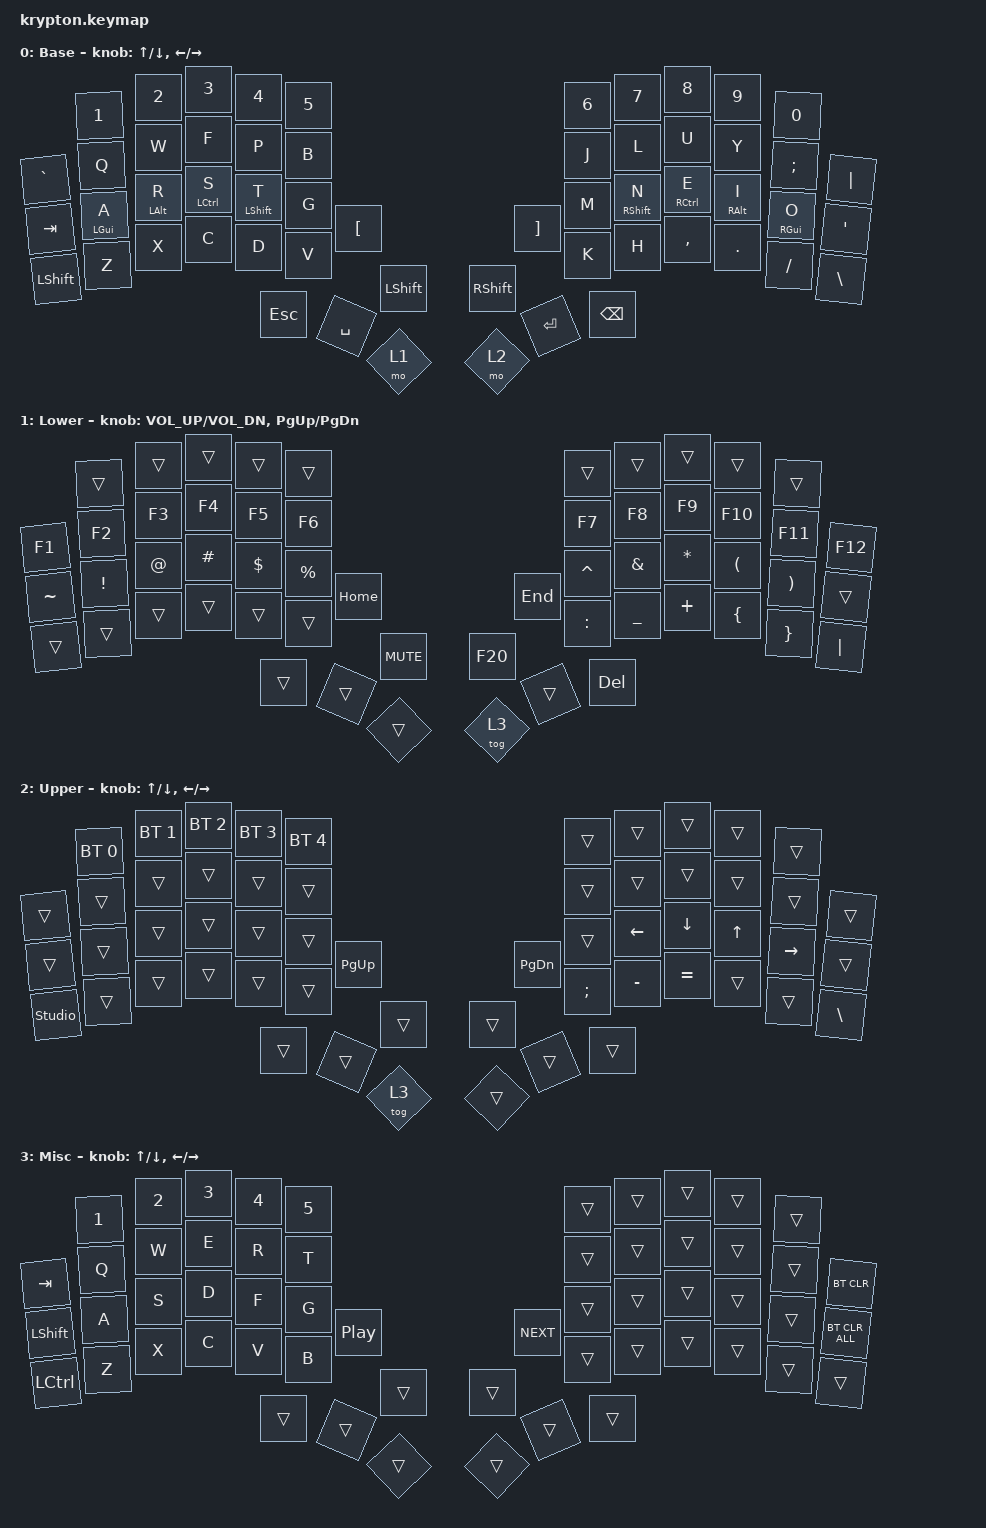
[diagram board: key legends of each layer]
#include <behaviors.dtsi>
#include <dt-bindings/zmk/bt.h>
#include <dt-bindings/zmk/keys.h>

/ {
    behaviors {
        bhm: balanced_homerow_mods {
            compatible = "zmk,behavior-hold-tap";
            #binding-cells = <2>;
            tapping-term-ms = <200>;
            quick-tap-ms = <0>;
            flavor = "balanced";
            bindings = <&kp>, <&kp>;
        };
    };

    combos {
        compatible = "zmk,combos";
        combo_esc {
            timeout-ms = <50>;
            key-positions = <26 31>;
            bindings = <&kp ESC>;
        };
        combo_caps_word {
            timeout-ms = <50>;
            key-positions = <25 32>;
            bindings = <&caps_word>;
        };
    };

    keymap {
        compatible = "zmk,keymap";

        Base {
            display-name = "Base";

            // ---------------------------------------------------------------------------------------------------
            // |       |  1  |  2  |  3  |  4  |  5  |                     |  6  |  7  |  8  |  9  |  0  |       |
            // |   `   |  Q  |  W  |  F  |  P  |  B  |                     |  J  |  L  |  U  |  Y  |  ;  |   |   |
            // |  TAB  |A/GUI|R/ALT|S/CTL|T/SFT|  G  |  [  |     |  ]  |   |  M  |N/SFT|E/CTL|I/ALT|O/GUI|   '   |
            // | SHIFT |  Z  |  X  |  C  |  D  |  V  |LSHFT|     |RSHFT|   |  K  |  H  |  ,  |  .  |  /  |   \   |
            //                             | ESC  | SPACE | LOWER | UPPER | ENTER | BSPC |

            bindings = <
           &kp N1        &kp N2       &kp N3        &kp N4         &kp N5                           &kp N6   &kp N7         &kp N8        &kp N9       &kp N0
&kp GRAVE  &kp Q         &kp W        &kp F         &kp P          &kp B                            &kp J    &kp L          &kp U         &kp Y        &kp SEMI      &kp PIPE
&kp TAB    &bhm LGUI A   &bhm LALT R  &bhm LCTRL S  &bhm LSHIFT T  &kp G      &kp LBKT   &kp RBKT   &kp M    &bhm RSHIFT N  &bhm RCTRL E  &bhm RALT I  &bhm RGUI O   &kp SQT
&kp LSHFT  &kp Z         &kp X        &kp C         &kp D          &kp V      &kp LSHFT  &kp RSHFT  &kp K    &kp H          &kp COMMA     &kp DOT      &kp FSLH      &kp BSLH
                                                    &kp ESC        &kp SPACE  &mo 1      &mo 2      &kp RET  &kp BSPC
            >;

            sensor-bindings = <&inc_dec_kp UP DOWN &inc_dec_kp LEFT RIGHT>;
        };

        Lower {
            display-name = "Lower";

            // -----------------------------------------------------------------------------------------------------------------------
            // |       |  ↓   |  ↓   |  ↓   |  ↓   |  ↓   |                     |  ↓   |  ↓   |  ↓   |  ↓   |  ↓   |       |
            // |  F1   |  F2  |  F3  |  F4  |  F5  |  F6  |                     |  F7  |  F8  |  F9  |  F10 |  F11 |  F12  |
            // |   ~   |  !   |  @   |  #   |  $   |  %   | HOME |     | END |  |  ^   |  &   |  *   |  (   |  )   |   ↓   |
            // |   ↓   |  ↓   |  ↓   |  ↓   |  ↓   |  ↓   | MUTE |     | F20 |  |  :   |  _   |  +   |  {   |  }   |   |   |
            //                                | ↓  |  ↓  |  ↓  | MISC |  ↓  | DEL |

            bindings = <
           &trans      &trans      &trans      &trans      &trans                           &trans        &trans         &trans         &trans        &trans
&kp F1     &kp F2      &kp F3      &kp F4      &kp F5      &kp F6                           &kp F7        &kp F8         &kp F9         &kp F10       &kp F11       &kp F12
&kp TILDE  &kp EXCL    &kp AT      &kp HASH    &kp DOLLAR  &kp PERCENT &kp HOME    &kp END  &kp CARET     &kp AMPS       &kp ASTERISK   &kp LPAR      &kp RPAR      &trans
&trans     &trans      &trans      &trans      &trans      &trans      &kp C_MUTE  &kp F20  &kp COLON     &kp UNDER      &kp PLUS       &kp LBRC      &kp RBRC      &kp PIPE
                                               &trans      &trans      &trans      &tog 3   &trans        &kp DEL
            >;

            sensor-bindings = <&inc_dec_kp C_VOL_UP C_VOL_DN &inc_dec_kp PG_UP PG_DN>;
        };

        Upper {
            display-name = "Upper";

            // -----------------------------------------------------------------------------------------------------------------------------
            // |       | BT 0 | BT 1 | BT 2 | BT 3 | BT 4 |                     |  ↓   |  ↓   |  ↓   |  ↓   |  ↓   |       |
            // |   ↓   |   ↓   |  ↓   |  ↓   |  ↓   |  ↓   |                     |  ↓   |  ↓   |  ↓   |  ↓   |  ↓   |   ↓   |
            // |   ↓   |  ↓   |  ↓   |  ↓   |  ↓   |  ↓   |PG_UP|     |PG_DN|   |  ↓   | LEFT | DOWN |  UP  |RIGHT |   ↓   |
            // |UNLOCK |  ↓   |  ↓   |  ↓   |  ↓   |  ↓   |  ↓  |     |  ↓  |   |  ;   |  -   |  =   |  ↓   |  ↓   |   \   |
            //                                |  ↓  |  ↓  | MISC|  ↓  |  ↓  |  ↓  |

            bindings = <
                &bt BT_SEL 0  &bt BT_SEL 1  &bt BT_SEL 2  &bt BT_SEL 3  &bt BT_SEL 4                        &trans    &trans     &trans     &trans  &trans
&trans          &trans        &trans        &trans        &trans        &trans                              &trans    &trans     &trans     &trans  &trans     &trans
&trans          &trans        &trans        &trans        &trans        &trans        &kp PG_UP  &kp PG_DN  &trans    &kp LEFT   &kp DOWN   &kp UP  &kp RIGHT  &trans
&studio_unlock  &trans        &trans        &trans        &trans        &trans        &trans     &trans     &kp SEMI  &kp MINUS  &kp EQUAL  &trans  &trans     &kp BSLH
                                                          &trans        &trans        &tog 3     &trans     &trans    &trans
            >;

            sensor-bindings = <&inc_dec_kp UP DOWN &inc_dec_kp LEFT RIGHT>;
        };

        Misc {
            display-name = "Misc";

            // ---------------------------------------------------------------------------------------------------------
            // |       |  1  |  2  |  3  |  4  |  5  |                     |  ↓   |  ↓   |  ↓   |  ↓   |  ↓   |       |
            // |  TAB  |  Q  |  W  |  E  |  R  |  T  |                     |  ↓   |  ↓   |  ↓   |  ↓   |  ↓   |BT CLR |
            // |LSHIFT |  A  |  S  |  D  |  F  |  G  | PLAY |     | NEXT | |  ↓   |  ↓   |  ↓   |  ↓   |  ↓   |BT CLRA|
            // | LCTRL |  Z  |  X  |  C  |  V  |  B  |  ↓   |     |  ↓   | |  ↓   |  ↓   |  ↓   |  ↓   |  ↓   |   ↓   |
            //                                |  ↓  |  ↓  |  ↓  |  ↓  |  ↓  |  ↓  |

            bindings = <
           &kp N1  &kp N2  &kp N3  &kp N4  &kp N5                                &trans  &trans  &trans  &trans  &trans
&kp TAB    &kp Q   &kp W   &kp E   &kp R   &kp T                                 &trans  &trans  &trans  &trans  &trans  &bt BT_CLR
&kp LSHFT  &kp A   &kp S   &kp D   &kp F   &kp G   &kp C_PLAY_PAUSE  &kp C_NEXT  &trans  &trans  &trans  &trans  &trans  &bt BT_CLR_ALL
&kp LCTRL  &kp Z   &kp X   &kp C   &kp V   &kp B   &trans            &trans      &trans  &trans  &trans  &trans  &trans  &trans
                                   &trans  &trans  &trans            &trans      &trans  &trans
            >;

            sensor-bindings = <&inc_dec_kp UP DOWN &inc_dec_kp LEFT RIGHT>;
        };
    };
};
